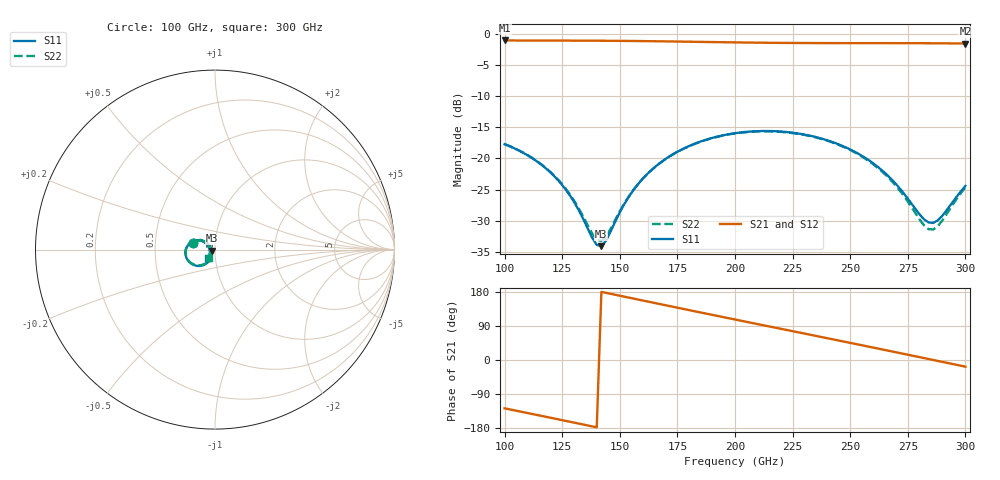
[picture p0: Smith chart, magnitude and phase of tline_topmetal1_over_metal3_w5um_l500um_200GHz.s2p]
#  GHZ S DB R 50
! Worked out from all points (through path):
!   101 points, 100 GHz to 300 GHz, reference 50 ohm
!   highest |S21| = -1.05 dB at 100 GHz (marker M1); lowest = -1.5 dB at 300 GHz (marker M2)
!   group delay of S21, straight-line fit = 3.47 ps
!   lowest |S11| = -34.1 dB at 142 GHz (marker M3), VSWR 1.04, Z = 48.2 - j0.6 ohm
!   |S11| at or under -10 dB: start of sweep to end of sweep
!   |S22| runs from -33.2 to -15.6 dB; largest |S21 - S12| = 1e-13
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100  -17.71 162.7  -1.05 -127.6  -1.05 -127.6  -17.69 162.8
110  -19.49 152.1  -1.07 -140.0  -1.07 -140.0  -19.46 152.4
120  -22.28 143.7  -1.07 -152.5  -1.07 -152.5  -22.20 144.4
128  -25.74 141.3  -1.08 -162.5  -1.08 -162.5  -25.58 142.5
134  -29.61 147.9  -1.09 -170.1  -1.09 -170.1  -29.23 149.6
140  -33.87 179.9  -1.10 -177.7  -1.10 -177.7  -33.02 179.5
142  -34.07 -161.7  -1.10 179.8  -1.10 179.8  -33.23 -164.1
144  -33.20 -144.8  -1.10 177.2  -1.10 177.2  -32.54 -148.7
150  -28.64 -120.5  -1.12 169.6  -1.12 169.6  -28.46 -124.4
156  -25.03 -116.3  -1.14 162.0  -1.14 162.0  -24.99 -119.3
162  -22.46 -118.2  -1.16 154.4  -1.16 154.4  -22.46 -120.8
168  -20.57 -122.5  -1.19 146.8  -1.19 146.8  -20.58 -124.7
184  -17.42 -137.7  -1.28 126.8  -1.28 126.8  -17.45 -139.7
200  -15.94 -154.7  -1.36 106.9  -1.36 106.9  -15.98 -156.6
216  -15.60 -171.9  -1.43 87.1  -1.43 87.1  -15.65 -173.9
234  -16.46 169.4  -1.47 65.0  -1.47 65.0  -16.53 167.2
254  -19.33 151.4  -1.48 40.2  -1.48 40.2  -19.45 148.6
268  -23.37 145.5  -1.48 22.7  -1.48 22.7  -23.61 141.7
280  -28.92 162.9  -1.49 7.7  -1.49 7.7  -29.73 158.8
284  -30.27 -178.4  -1.50 2.6  -1.50 2.6  -31.34 179.9
288  -29.94 -156.5  -1.51 -2.4  -1.51 -2.4  -30.88 -155.1
300  -24.40 -128.4  -1.54 -17.6  -1.54 -17.6  -24.63 -126.8
